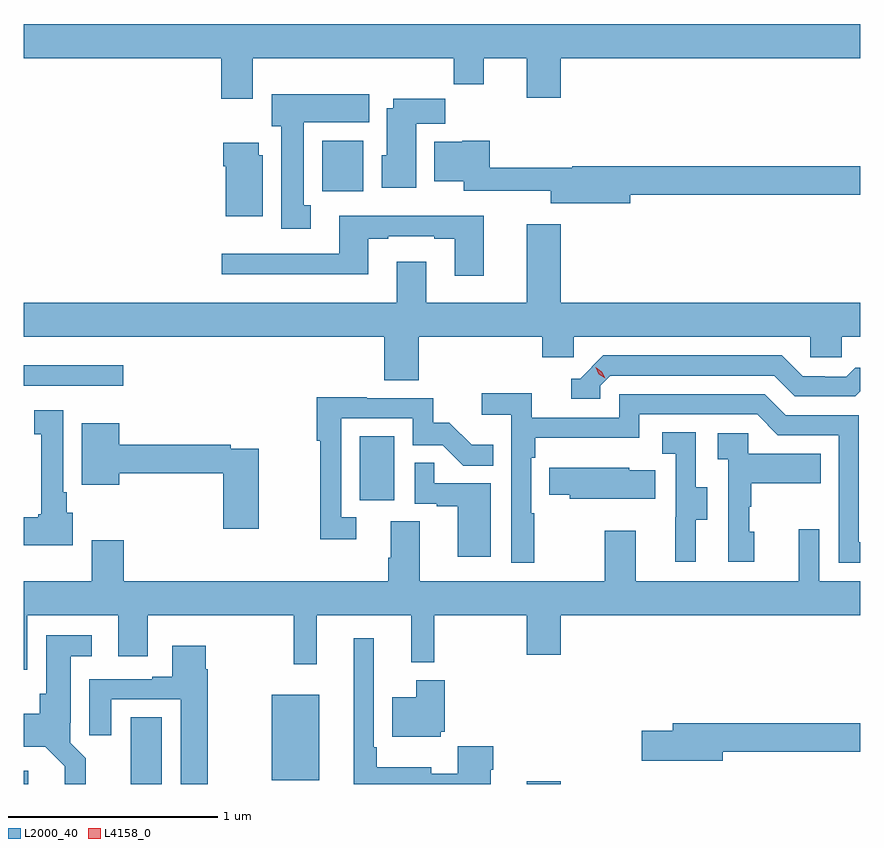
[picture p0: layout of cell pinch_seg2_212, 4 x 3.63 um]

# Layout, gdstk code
import gdstk
lib = gdstk.Library(unit=1e-6, precision=1e-09)
def R(c, l, rs):  # rectangles x0, y0, x1, y1
    for r in rs: c.add(gdstk.rectangle(r[:2], r[2:], *l))
def P(c, l, *ps):  # polygons
    for p in ps: c.add(gdstk.Polygon(p, *l))
L2000_40 = (2000, 40)
L4158_0 = (4158, 0)

pinch_seg2_212 = lib.new_cell('pinch_seg2_212')
R(pinch_seg2_212, L2000_40, [(953.811,656.154,953.833,656.218), (954.323,656.154,954.472,656.474), (956.216,656.154,956.38,656.167), (954.998,656.171,955.225,656.581), (955.418,657.51,955.582,657.817), (953.811,658.059,954.286,658.156), (955.238,658.988,955.435,659.23)])
P(pinch_seg2_212, L2000_40, [(953.811,659.624),(954.755,659.624),(954.755,659.43),(954.907,659.43),(954.907,659.624),(955.867,659.624),(955.867,659.5),(956.011,659.5),(956.011,659.624),(956.216,659.624),(956.216,659.436),(956.38,659.436),(956.38,659.624),(957.811,659.624),(957.811,659.788),(953.811,659.788)],
  [(955.183,658.922),(955.15,658.922),(955.15,659.318),(955.462,659.318),(955.462,659.452),(954.998,659.452),(954.998,659.298),(955.043,659.298),(955.043,658.809),(955.183,658.809)],
  [(955.687,659.312),(955.826,659.312),(955.826,659.431),(955.577,659.431),(955.577,659.386),(955.547,659.386),(955.547,659.16),(955.523,659.16),(955.523,659.006),(955.687,659.006)],
  [(956.71,658.972),(957.811,658.972),(957.811,659.108),(956.434,659.108),(956.434,659.101),(956.039,659.101),(956.039,659.23),(955.908,659.23),(955.908,659.224),(955.775,659.224),(955.775,659.036),(955.916,659.036),(955.916,658.991),(956.33,658.991),(956.33,658.93),(956.71,658.93)],
  [(954.955,659.16),(954.934,659.16),(954.934,659.221),(954.764,659.221),(954.764,659.108),(954.776,659.108),(954.776,658.868),(954.955,658.868)],
  [(956.011,658.87),(955.319,658.87),(955.319,658.689),(954.759,658.689),(954.759,658.592),(955.459,658.592),(955.459,658.761),(955.555,658.761),(955.555,658.773),(955.775,658.773),(955.775,658.761),(955.871,658.761),(955.871,658.584),(956.011,658.584)],
  [(955.7,658.292),(956.291,658.292),(956.291,658.194),(956.442,658.194),(956.442,658.292),(957.573,658.292),(957.573,658.194),(957.723,658.194),(957.723,658.292),(957.811,658.292),(957.811,658.456),(956.38,658.456),(956.38,658.831),(956.216,658.831),(956.216,658.456),(955.735,658.456),(955.735,658.651),(955.595,658.651),(955.595,658.456),(953.811,658.456),(953.811,658.292),(955.535,658.292),(955.535,658.084),(955.7,658.084)],
  [(956.568,658.059),(956.616,658.107),(957.399,658.107),(957.498,658.008),(957.787,658.008),(957.811,658.032),(957.811,658.144),(957.787,658.144),(957.745,658.101),(957.642,658.101),(957.642,658.104),(957.535,658.104),(957.436,658.203),(956.583,658.203),(956.472,658.092),(956.429,658.092),(956.429,657.996),(956.568,657.996)],
  [(956.251,657.449),(956.238,657.449),(956.238,657.713),(956.257,657.713),(956.257,657.809),(956.754,657.809),(956.754,657.921),(957.318,657.921),(957.417,657.822),(957.708,657.822),(957.708,657.213),(957.811,657.213),(957.811,657.309),(957.804,657.309),(957.804,657.918),(957.454,657.918),(957.355,658.017),(956.658,658.017),(956.658,657.906),(956.24,657.906),(956.24,658.022),(956.001,658.022),(956.001,657.92),(956.142,657.92),(956.142,657.213),(956.251,657.213)],
  [(955.402,657.429),(955.329,657.429),(955.329,657.903),(955.671,657.903),(955.671,657.774),(955.815,657.774),(955.913,657.676),(956.057,657.676),(956.057,657.775),(955.953,657.775),(955.846,657.882),(955.77,657.882),(955.77,657.999),(955.451,657.999),(955.451,658.004),(955.213,658.004),(955.213,657.796),(955.228,657.796),(955.228,657.324),(955.402,657.324)],
  [(954.046,657.45),(954.016,657.45),(954.016,657.55),(954.001,657.55),(954.001,657.94),(953.861,657.94),(953.861,657.827),(953.894,657.827),(953.894,657.444),(953.881,657.444),(953.881,657.43),(953.811,657.43),(953.811,657.296),(954.046,657.296)],
  [(954.934,657.756),(954.8,657.756),(954.8,657.776),(954.268,657.776),(954.268,657.88),(954.089,657.88),(954.089,657.584),(954.268,657.584),(954.268,657.64),(954.764,657.64),(954.764,657.375),(954.934,657.375)],
  [(957.025,657.418),(957.079,657.418),(957.079,657.573),(957.024,657.573),(957.024,657.836),(956.865,657.836),(956.865,657.733),(956.928,657.733),(956.928,657.429),(956.927,657.429),(956.927,657.216),(957.025,657.216)],
  [(957.304,657.36),(957.279,657.36),(957.279,657.479),(957.289,657.479),(957.289,657.593),(957.623,657.593),(957.623,657.733),(957.276,657.733),(957.276,657.831),(957.129,657.831),(957.129,657.707),(957.18,657.707),(957.18,657.216),(957.304,657.216)],
  [(956.044,657.591),(955.775,657.591),(955.775,657.689),(955.68,657.689),(955.68,657.495),(955.787,657.495),(955.787,657.483),(955.886,657.483),(955.886,657.24),(956.044,657.24)],
  [(956.831,657.655),(956.706,657.655),(956.706,657.667),(956.323,657.667),(956.323,657.538),(956.421,657.538),(956.421,657.518),(956.831,657.518)],
  [(953.829,656.96),(954.263,656.96),(954.263,656.766),(954.403,656.766),(954.403,656.96),(955.101,656.96),(955.101,656.727),(955.211,656.727),(955.211,656.96),(955.664,656.96),(955.664,656.735),(955.774,656.735),(955.774,656.96),(956.216,656.96),(956.216,656.772),(956.38,656.772),(956.38,656.96),(957.811,656.96),(957.811,657.124),(957.615,657.124),(957.615,657.373),(957.518,657.373),(957.518,657.124),(956.737,657.124),(956.737,657.364),(956.59,657.364),(956.59,657.124),(955.705,657.124),(955.705,657.41),(955.565,657.41),(955.565,657.236),(955.553,657.236),(955.553,657.124),(954.29,657.124),(954.29,657.319),(954.137,657.319),(954.137,657.124),(953.811,657.124),(953.811,656.7),(953.829,656.7)],
  [(954.107,656.278),(954.033,656.352),(954.033,656.446),(954.037,656.446),(954.037,656.765),(954.136,656.765),(954.136,656.866),(953.918,656.866),(953.918,656.586),(953.888,656.586),(953.888,656.491),(953.811,656.491),(953.811,656.333),(953.913,656.333),(954.006,656.24),(954.006,656.154),(954.107,656.154)],
  [(956.044,656.222),(956.057,656.222),(956.057,656.335),(955.886,656.335),(955.886,656.203),(955.759,656.203),(955.759,656.233),(955.498,656.233),(955.498,656.329),(955.485,656.329),(955.485,656.851),(955.388,656.851),(955.388,656.154),(956.044,656.154)],
  [(954.69,656.702),(954.682,656.702),(954.682,656.815),(954.521,656.815),(954.521,656.668),(954.425,656.668),(954.425,656.655),(954.125,656.655),(954.125,656.388),(954.229,656.388),(954.229,656.559),(954.563,656.559),(954.563,656.154),(954.69,656.154)],
  [(955.806,656.403),(955.823,656.403),(955.823,656.65),(955.688,656.65),(955.688,656.569),(955.574,656.569),(955.574,656.381),(955.806,656.381)],
  [(957.154,656.308),(957.811,656.308),(957.811,656.444),(956.915,656.444),(956.915,656.408),(956.766,656.408),(956.766,656.266),(957.154,656.266)])
P(pinch_seg2_212, L4158_0, [(956.592,658.093),(956.561,658.113),(956.546,658.146),(956.546,658.146),(956.546,658.146),(956.576,658.126),(956.592,658.093),(956.592,658.093)])

lib.write_gds('pinch_seg2_212.gds')
